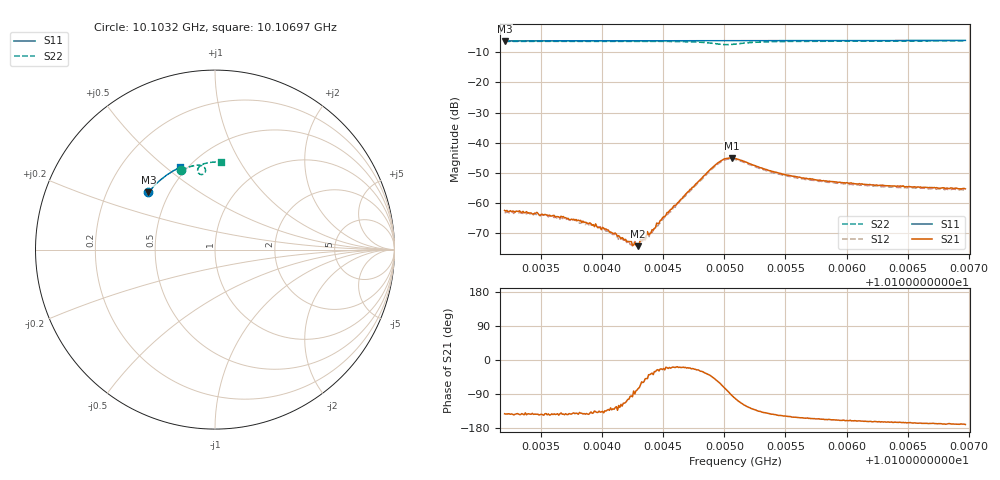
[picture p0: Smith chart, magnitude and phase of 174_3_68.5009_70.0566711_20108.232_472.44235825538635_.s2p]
#  HZ  S  RI  R  50.00
! Rohde & Schwarz Vector Network Analyzer
! Rohde-Schwarz,ZNB20-2Port,1311601062101988,3.16
! Created: UTC 3/20/2024, 5:11:34 PM
! freq[Hz]  re:S11  im:S11  re:S21  im:S21  re:S12  im:S12  re:S22  im:S22
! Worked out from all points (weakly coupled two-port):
!   401 points, 10.1032 GHz to 10.10697 GHz, reference 50 ohm
!   highest |S21| = -45.06 dB at 10.10506 GHz (marker M1); lowest = -74.4 dB at 10.1043 GHz (marker M2)
!   lowest |S11| = -6.2 dB at 10.1032 GHz (marker M3), VSWR 2.91, Z = 19.2 + j16.1 ohm
!   |S11| at or under -10 dB: nowhere
!   |S22| runs from -7.4 to -6.2 dB; largest |S21 - S12| = 0.00057
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1.0103203e10  -0.3705 0.3184  -0.000589 -0.000463  -0.000522 -0.000446  -0.1878 0.4425
1.0103533e10  -0.3577 0.3339  -0.000508 -0.000398  -0.000459 -0.000423  -0.1676 0.4514
1.0103768e10  -0.3484 0.3447  -0.000408 -0.000346  -0.000389 -0.000361  -0.1524 0.4574
1.0103834e10  -0.3457 0.3477  -0.000365 -0.0003  -0.000332 -0.000341  -0.148 0.4588
1.0104004e10  -0.3386 0.3553  -0.000279 -0.000275  -0.000234 -0.000293  -0.1365 0.4627
1.0104032e10  -0.3374 0.3565  -0.000259 -0.000263  -0.000213 -0.000263  -0.1344 0.4631
1.0104239e10  -0.3286 0.3655  -1.91e-05 -0.00023  1.48e-05 -0.000202  -0.1194 0.4672
1.0104267e10  -0.3273 0.3665  1.42e-06 -0.000219  5.54e-05 -0.000226  -0.1171 0.4676
1.0104296e10  -0.3261 0.3678  4.84e-05 -0.000185  7.54e-05 -0.000177  -0.1149 0.4681
1.0104324e10  -0.3249 0.369  0.000126 -0.0002  0.000154 -0.000186  -0.1125 0.4686
1.0104371e10  -0.3228 0.371  0.000219 -0.000252  0.000203 -0.000176  -0.1087 0.4693
1.0104418e10  -0.3209 0.3728  0.000277 -0.000221  0.000291 -0.00019  -0.1047 0.4698
1.0104465e10  -0.3187 0.3749  0.000399 -0.000221  0.000411 -0.000184  -0.1005 0.4702
1.0104635e10  -0.311 0.3818  0.00103 -0.000354  0.00103 -0.000267  -0.0834 0.4699
1.0104918e10  -0.2979 0.3928  0.00271 -0.00309  0.00285 -0.0027  -0.0527 0.4397
1.0104993e10  -0.2944 0.3954  0.00173 -0.005  0.00207 -0.00462  -0.0629 0.4214
1.0105059e10  -0.2913 0.3979  -0.000245 -0.00558  0.000247 -0.00537  -0.0824 0.4195
1.0105087e10  -0.29 0.399  -0.00106 -0.00536  -0.000546 -0.00524  -0.0893 0.4237
1.0105408e10  -0.2749 0.4111  -0.00264 -0.00192  -0.00236 -0.00207  -0.0798 0.4693
1.0105718e10  -0.2595 0.4218  -0.00226 -0.00107  -0.00205 -0.0012  -0.0537 0.4802
1.010635e10  -0.2268 0.4419  -0.00185 -0.000524  -0.0017 -0.000649  -0.00815 0.4876
1.0106971e10  -0.1933 0.459  -0.00169 -0.000294  -0.00161 -0.000435  0.0335 0.4885
